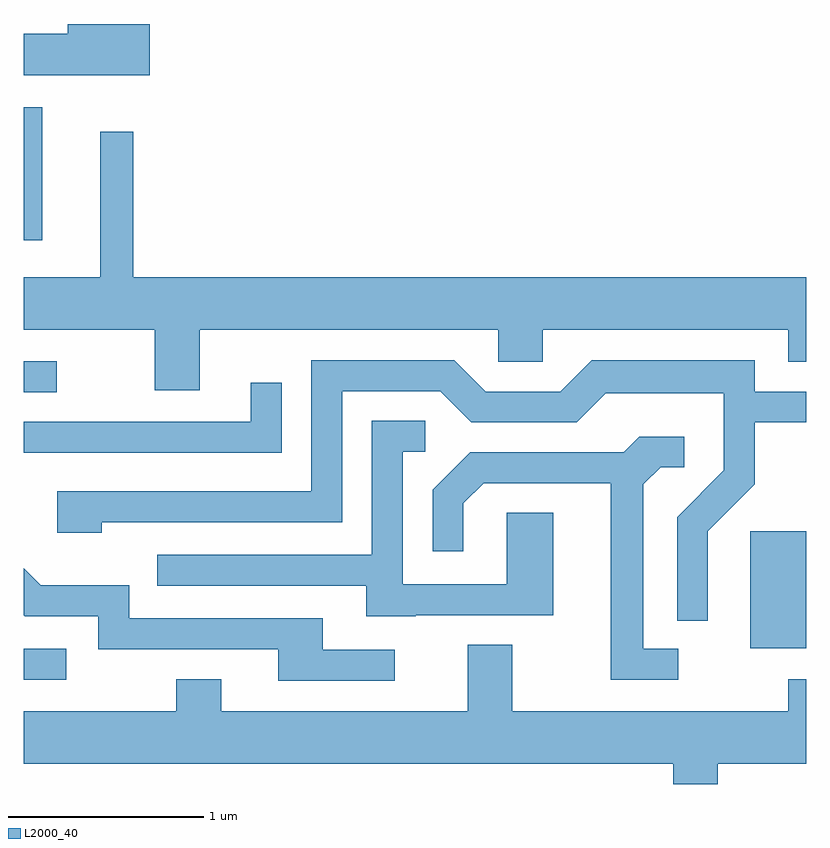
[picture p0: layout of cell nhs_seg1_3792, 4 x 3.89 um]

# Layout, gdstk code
import gdstk
lib = gdstk.Library(unit=1e-6, precision=1e-09)
def R(c, l, rs):  # rectangles x0, y0, x1, y1
    for r in rs: c.add(gdstk.rectangle(r[:2], r[2:], *l))
def P(c, l, *ps):  # polygons
    for p in ps: c.add(gdstk.Polygon(p, *l))
L2000_40 = (2000, 40)

nhs_seg1_3792 = lib.new_cell('nhs_seg1_3792')
R(nhs_seg1_3792, L2000_40, [(299.611,882.246,299.828,882.404), (303.326,882.406,303.611,883.004), (299.611,883.716,299.778,883.874), (299.611,884.493,299.704,885.174)])
P(nhs_seg1_3792, L2000_40, [(300.254,885.599),(299.836,885.599),(299.836,885.549),(299.611,885.549),(299.611,885.336),(300.254,885.336)],
  [(300.509,884.036),(302.036,884.036),(302.036,883.871),(302.264,883.871),(302.264,884.036),(303.521,884.036),(303.521,883.871),(303.611,883.871),(303.611,884.304),(300.169,884.304),(300.169,885.048),(300.001,885.048),(300.001,884.304),(299.611,884.304),(299.611,884.036),(300.281,884.036),(300.281,883.726),(300.509,883.726)],
  [(303.109,883.004),(303.349,883.244),(303.349,883.561),(303.611,883.561),(303.611,883.719),(303.349,883.719),(303.349,883.879),(302.514,883.879),(302.354,883.719),(301.972,883.719),(301.812,883.879),(301.081,883.879),(301.081,883.209),(299.781,883.209),(299.781,882.996),(300.009,882.996),(300.009,883.051),(301.239,883.051),(301.239,883.721),(301.739,883.721),(301.899,883.561),(302.437,883.561),(302.587,883.711),(303.191,883.711),(303.191,883.317),(302.951,883.077),(302.951,882.548),(303.109,882.548)],
  [(300.929,883.763),(300.771,883.763),(300.771,883.564),(299.611,883.564),(299.611,883.406),(300.929,883.406)],
  [(301.615,882.576),(302.319,882.576),(302.319,883.099),(302.081,883.099),(302.081,882.734),(301.549,882.734),(301.549,883.411),(301.663,883.411),(301.663,883.569),(301.391,883.569),(301.391,882.884),(300.293,882.884),(300.293,882.726),(301.361,882.726),(301.361,882.571),(301.615,882.571)],
  [(302.958,882.404),(302.779,882.404),(302.779,883.244),(302.867,883.331),(302.988,883.331),(302.988,883.489),(302.759,883.489),(302.679,883.409),(301.894,883.409),(301.701,883.217),(301.701,882.903),(301.859,882.903),(301.859,883.149),(301.962,883.251),(302.611,883.251),(302.611,882.246),(302.958,882.246)],
  [(301.508,882.399),(301.139,882.399),(301.139,882.559),(300.149,882.559),(300.149,882.729),(299.697,882.729),(299.611,882.815),(299.611,882.574),(299.614,882.571),(299.991,882.571),(299.991,882.401),(300.911,882.401),(300.911,882.241),(301.508,882.241)],
  [(303.159,881.816),(303.611,881.816),(303.611,882.249),(303.521,882.249),(303.521,882.084),(302.109,882.084),(302.109,882.424),(301.881,882.424),(301.881,882.084),(300.619,882.084),(300.619,882.249),(300.391,882.249),(300.391,882.084),(299.611,882.084),(299.611,881.816),(302.931,881.816),(302.931,881.712),(303.159,881.712)])

lib.write_gds('nhs_seg1_3792.gds')
